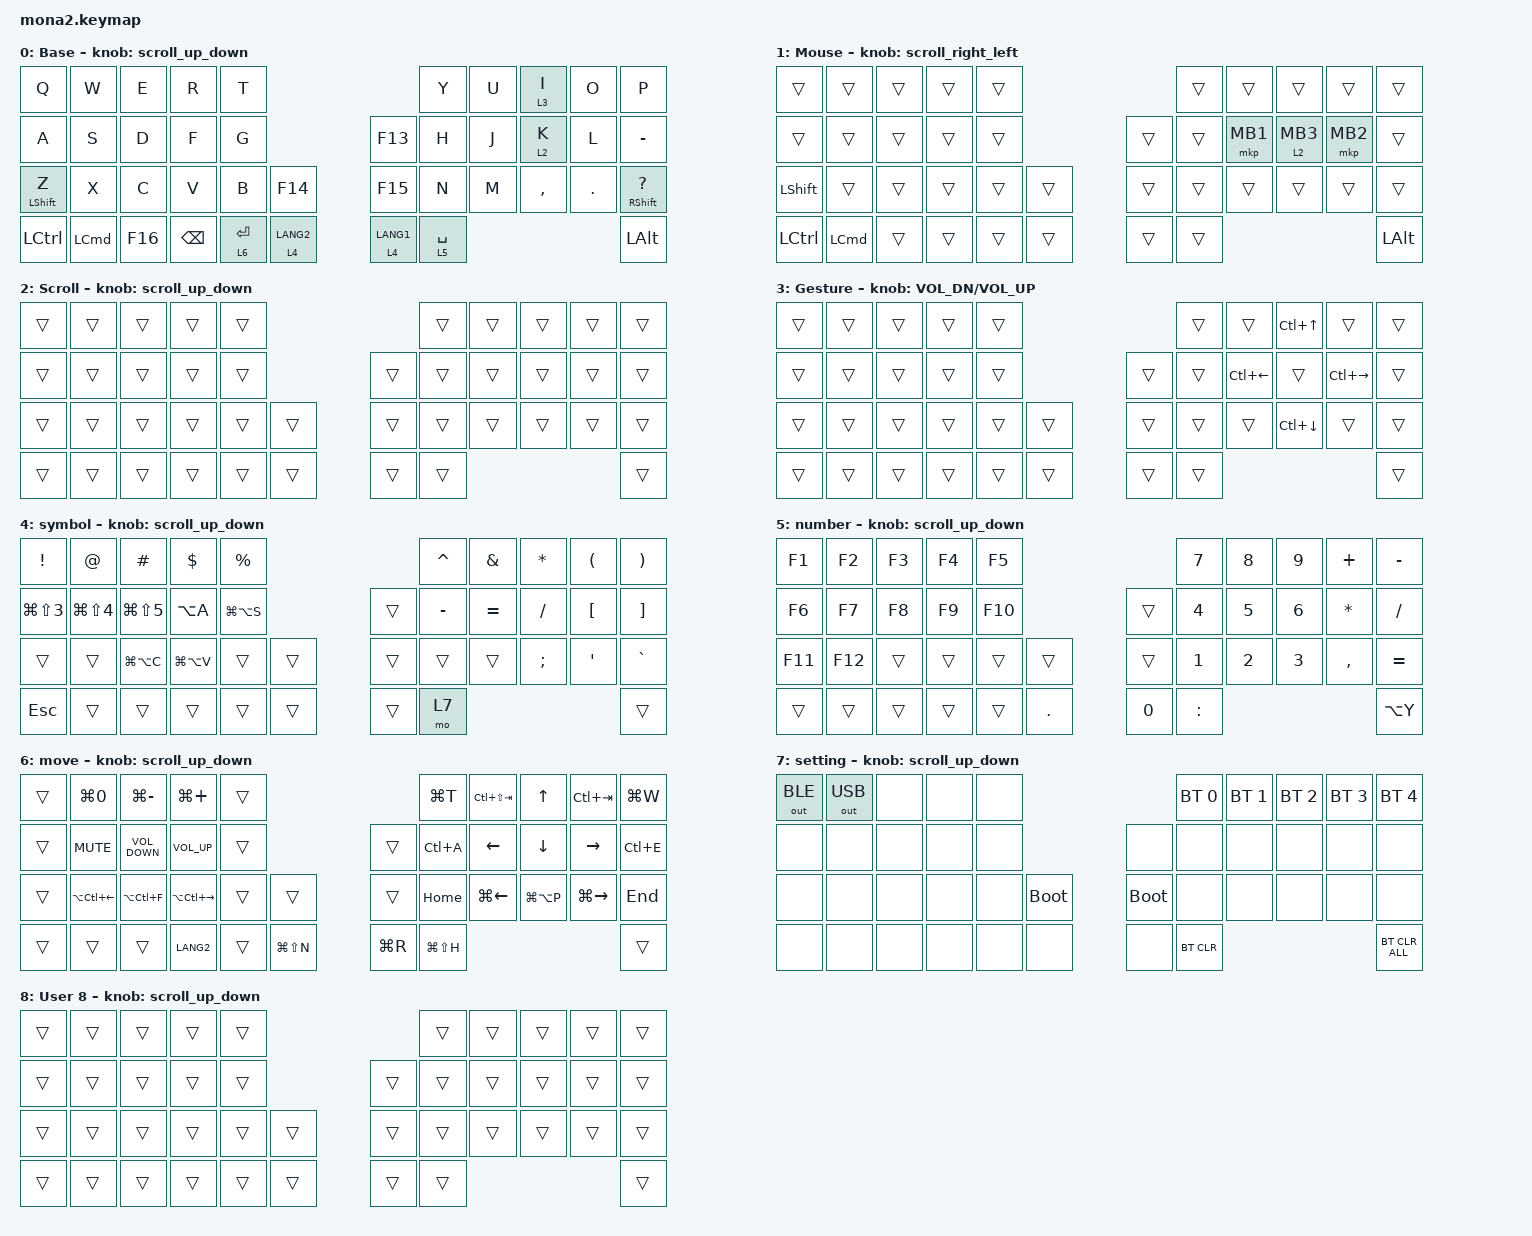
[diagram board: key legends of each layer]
#include <input/processors.dtsi>
#include <dt-bindings/zmk/input_transform.h>
#include <zephyr/dt-bindings/input/input-event-codes.h>
#include <behaviors.dtsi>
#include <dt-bindings/zmk/bt.h>
#include <dt-bindings/zmk/keys.h>
#include <dt-bindings/zmk/outputs.h>
#include <dt-bindings/zmk/pointing.h>

#undef ZMK_POINTING_DEFAULT_SCRL_VAL
#define ZMK_POINTING_DEFAULT_SCRL_VAL 100

&mt {
    tapping-term-ms = <300>;
    flavor = "balanced";
    quick-tap-ms = <0>;
};

&lt {
    tapping-term-ms = <300>;
    quick-tap-ms = <300>;
    flavor = "balanced";
};

&zip_temp_layer {
    require-prior-idle-ms = <300>;
    excluded-positions = <17 18 19 21 33 34 41>;
};

&mkp_input_listener {
    input-processors = <&zip_temp_layer 1 10000>;
};

/ {
    combos {
        compatible = "zmk,combos";

        layer4_ESC {
            bindings = <&lt 4 ESC>;
            key-positions = <39 38>;
        };

        tab {
            bindings = <&kp TAB>;
            key-positions = <11 12>;
        };
    };

    behaviors {
        mouse_lt: mouse_layer_tap {
            compatible = "zmk,behavior-hold-tap";
            #binding-cells = <2>;
            flavor = "tap-preferred";
            tapping-term-ms = <300>;
            quick-tap-ms = <300>;
            bindings = <&mo>, <&mkp>;
            display-name = "Mouse Layer-Tap";
        };

        scroll_up_down: mouse_wheel_up_down {
            compatible = "zmk,behavior-sensor-rotate";
            #sensor-binding-cells = <0>;
            bindings = <&msc SCRL_DOWN>, <&msc SCRL_UP>;
            tap-ms = <20>;
        };

        scroll_right_left: mouse_wheel_right_left {
            compatible = "zmk,behavior-sensor-rotate";
            #sensor-binding-cells = <0>;
            bindings = <&msc SCRL_LEFT>, <&msc SCRL_RIGHT>;
            tap-ms = <20>;
        };
    };

    keymap {
        compatible = "zmk,keymap";

        layer_0 {
            display-name = "Base";
            bindings = <
&kp Q             &kp W             &kp E    &kp R          &kp T                         &kp Y        &kp U             &lt 3 I           &kp O      &kp P
&kp A             &kp S             &kp D    &kp F          &kp G        &kp F13          &kp H        &kp J             &lt 2 K           &kp L      &kp MINUS
&mt LEFT_SHIFT Z  &kp X             &kp C    &kp V          &kp B        &kp F14  &kp F15  &kp N        &kp M             &kp COMMA         &kp DOT    &mt RIGHT_SHIFT QUESTION
&kp LEFT_CONTROL  &kp LEFT_COMMAND  &kp F16  &kp BACKSPACE  &lt 6 ENTER  &lt 4 LANG2      &lt 4 LANG1  &lt 5 SPACE      &kp LEFT_ALT
            >;
            sensor-bindings = <&scroll_up_down>;
        };

        layer_1 {
            display-name = "Mouse";
            bindings = <
&trans            &trans            &trans  &trans  &trans                   &trans  &trans    &trans           &trans    &trans
&trans            &trans            &trans  &trans  &trans  &trans          &trans  &mkp MB1  &mouse_lt 2 MB3  &mkp MB2  &trans
&kp LEFT_SHIFT    &trans            &trans  &trans  &trans  &trans  &trans  &trans  &trans    &trans           &trans    &trans
&kp LEFT_CONTROL  &kp LEFT_COMMAND  &trans  &trans  &trans  &trans          &trans  &trans    &kp LEFT_ALT
            >;
            sensor-bindings = <&scroll_right_left>;
        };

        layer_2 {
            display-name = "Scroll";
            bindings = <
&trans  &trans  &trans  &trans  &trans                  &trans  &trans  &trans  &trans  &trans
&trans  &trans  &trans  &trans  &trans  &trans          &trans  &trans  &trans  &trans  &trans
&trans  &trans  &trans  &trans  &trans  &trans  &trans  &trans  &trans  &trans  &trans  &trans
&trans  &trans  &trans  &trans  &trans  &trans          &trans  &trans  &trans
            >;
            sensor-bindings = <&scroll_up_down>;
        };

        layer_3 {
            display-name = "Gesture";
            bindings = <
&trans  &trans  &trans  &trans  &trans                    &trans  &trans              &kp LC(UP_ARROW)    &trans               &trans
&trans  &trans  &trans  &trans  &trans  &trans            &trans  &kp LC(LEFT_ARROW)  &trans              &kp LC(RIGHT_ARROW)  &trans
&trans  &trans  &trans  &trans  &trans  &trans  &trans    &trans  &trans              &kp LC(DOWN_ARROW)  &trans               &trans
&trans  &trans  &trans  &trans  &trans  &trans            &trans  &trans              &trans
            >;
            sensor-bindings = <&inc_dec_kp C_VOL_DN C_VOL_UP>;
        };

        layer_4 {
            display-name = "symbol";
            bindings = <
&kp EXCLAMATION  &kp AT_SIGN     &kp HASH        &kp DOLLAR     &kp PERCENT                   &kp CARET  &kp AMPERSAND  &kp ASTERISK   &kp LEFT_PARENTHESIS  &kp RIGHT_PARENTHESIS
&kp LG(LS(N3))   &kp LG(LS(N4))  &kp LG(LS(N5))  &kp LA(A)      &kp LG(LA(S))  &trans          &kp MINUS  &kp EQUAL      &kp SLASH      &kp LEFT_BRACKET      &kp RIGHT_BRACKET
&trans           &trans          &kp LG(LA(C))   &kp LG(LA(V))  &trans         &trans  &trans  &trans     &trans         &kp SEMICOLON  &kp SQT               &kp GRAVE
&kp ESCAPE       &trans          &trans          &trans         &trans         &trans          &trans     &mo 7         &trans
            >;
            sensor-bindings = <&scroll_up_down>;
        };

        layer_5 {
            display-name = "number";
            bindings = <
&kp F1   &kp F2   &kp F3  &kp F4  &kp F5                        &kp NUMBER_7  &kp NUMBER_8  &kp NUMBER_9  &kp PLUS      &kp MINUS
&kp F6   &kp F7   &kp F8  &kp F9  &kp F10  &trans               &kp NUMBER_4  &kp NUMBER_5  &kp NUMBER_6  &kp ASTERISK  &kp SLASH
&kp F11  &kp F12  &trans  &trans  &trans   &trans  &trans       &kp N1        &kp N2        &kp N3        &kp COMMA     &kp EQUAL
&trans   &trans   &trans  &trans  &trans   &kp PERIOD           &kp NUMBER_0  &kp COLON     &kp LA(Y)
            >;
            sensor-bindings = <&scroll_up_down>;
        };

        layer_6 {
            display-name = "move";
            bindings = <
&trans  &kp LG(N0)              &kp LG(MINUS)      &kp LG(PLUS)              &trans                           &kp LG(T)      &kp LC(LS(TAB))     &kp UP_ARROW    &kp LC(TAB)          &kp LG(W)
&trans  &kp K_MUTE              &kp C_VOLUME_DOWN  &kp C_VOLUME_UP           &trans  &trans                   &kp LC(A)      &kp LEFT_ARROW      &kp DOWN_ARROW  &kp RIGHT_ARROW      &kp LC(E)
&trans  &kp LA(LC(LEFT_ARROW))  &kp LA(LC(F))      &kp LA(LC(RIGHT_ARROW))   &trans  &trans  &trans           &kp HOME       &kp LG(LEFT_ARROW)  &kp LG(LA(P))   &kp LG(RIGHT_ARROW)  &kp END
&trans  &trans                  &trans             &kp LANG2                 &trans  &kp LG(LS(N))            &kp LG(R)      &kp LG(LS(H))      &trans
            >;
            sensor-bindings = <&scroll_up_down>;
        };

        layer_7 {
            display-name = "setting";
            bindings = <
&out OUT_BLE  &out OUT_USB  &none  &none  &none                   &bt BT_SEL 0  &bt BT_SEL 1  &bt BT_SEL 2  &bt BT_SEL 3  &bt BT_SEL 4
&none         &none         &none  &none  &none  &none            &none         &none         &none         &none         &none
&none         &none         &none  &none  &none  &bootloader  &bootloader  &none  &none  &none  &none  &none
&none         &none         &none  &none  &none  &none            &none         &bt BT_CLR    &bt BT_CLR_ALL
            >;
            sensor-bindings = <&scroll_up_down>;
        };

        layer_8 {
            display-name = "User 8";
            bindings = <
&trans  &trans  &trans  &trans  &trans                  &trans  &trans  &trans  &trans  &trans
&trans  &trans  &trans  &trans  &trans  &trans          &trans  &trans  &trans  &trans  &trans
&trans  &trans  &trans  &trans  &trans  &trans  &trans  &trans  &trans  &trans  &trans  &trans
&trans  &trans  &trans  &trans  &trans  &trans          &trans  &trans  &trans
            >;
            sensor-bindings = <&scroll_up_down>;
        };
    };
};
